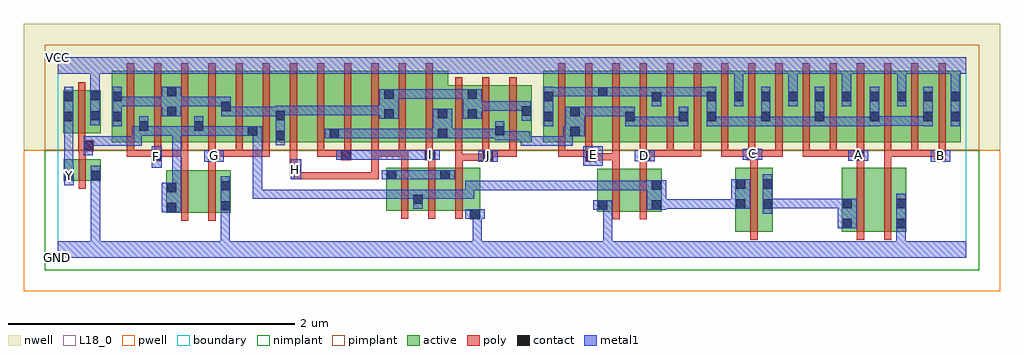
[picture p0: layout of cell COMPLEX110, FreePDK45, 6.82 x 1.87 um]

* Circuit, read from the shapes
.subckt COMPLEX110 A B C D E F G GND H I J VCC Y
M1 GND n1 Y VSUBS nfet w=0.15u l=0.05u
M2 n2 F n1 VSUBS nfet w=0.3u l=0.05u
M3 GND G n2 VSUBS nfet w=0.3u l=0.05u
M4 n1 H n3 VSUBS nfet w=0.3u l=0.05u
M5 n3 I n1 VSUBS nfet w=0.3u l=0.05u
M6 GND J n3 VSUBS nfet w=0.3u l=0.05u
M7 n4 E GND VSUBS nfet w=0.3u l=0.05u
M8 n1 D n4 VSUBS nfet w=0.3u l=0.05u
M9 n5 C n1 VSUBS nfet w=0.45u l=0.05u
M10 n6 A n5 VSUBS nfet w=0.45u l=0.05u
M11 GND B n6 VSUBS nfet w=0.45u l=0.05u
M12 VCC n1 Y n7 pfet w=0.3u l=0.05u
M13 n1 F n8 n7 pfet w=0.5u l=0.05u m=3
M14 n8 G n1 n7 pfet w=0.5u l=0.05u m=3
M15 n9 H n8 n7 pfet w=0.5u l=0.05u
M16 n10 I n9 n7 pfet w=0.5u l=0.05u
M17 n11 I n10 n7 pfet w=0.5u l=0.05u
M18 n8 H n11 n7 pfet w=0.5u l=0.05u
M19 n12 H n8 n7 pfet w=0.5u l=0.05u
M20 n10 I n12 n7 pfet w=0.5u l=0.05u
M21 n8 J n10 n7 pfet w=0.4u l=0.05u m=3
M22 n10 E n13 n7 pfet w=0.5u l=0.05u m=3
M23 n13 D n10 n7 pfet w=0.5u l=0.05u m=3
M24 VCC C n13 n7 pfet w=0.5u l=0.05u m=3
M25 n13 A VCC n7 pfet w=0.5u l=0.05u m=3
M26 VCC B n13 n7 pfet w=0.5u l=0.05u m=3
.ends

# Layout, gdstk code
import gdstk
lib = gdstk.Library(unit=1e-6, precision=1e-09)
def R(c, l, rs):  # rectangles x0, y0, x1, y1
    for r in rs: c.add(gdstk.rectangle(r[:2], r[2:], *l))
def A(c, l, x, y, w, h, nx, ny, dx, dy):  # array of equal rectangles
    R(c, l, [(x+i*dx, y+j*dy, x+i*dx+w, y+j*dy+h) for i in range(nx) for j in range(ny)])
active = (1, 0)
pwell = (2, 0)
nwell = (3, 0)
nimplant = (4, 0)
pimplant = (5, 0)
poly = (9, 0)
contact = (10, 0)
metal1 = (11, 0)
L18_0 = (18, 0)
boundary = (235, 0)

complex110 = lib.new_cell('COMPLEX110')
A(complex110, active, 0.38, 0.805, 0.075, 0.395, 4, 1, 0.38, 0)
A(complex110, active, 4.535, 0.805, 0.265, 0.5, 3, 1, 0.19, 0)
R(complex110, active, [(4.74,0.18,5.002,0.63), (5.485,0.18,5.71,0.63), (5.71,0.18,5.935,0.63), (4.74,0.2,4.815,0.63), (4.927,0.2,5.002,0.63), (5.485,0.2,5.56,0.63), (5.86,0.2,5.935,0.63), (2.882,0.267,2.957,0.405), (0.76,0.312,0.985,0.612), (0.76,0.312,0.835,0.612), (0.985,0.312,1.21,0.612), (1.135,0.312,1.21,0.612), (3.775,0.322,4,0.622), (4,0.322,4.225,0.622), (2.297,0.327,2.557,0.627), (2.482,0.327,2.747,0.627), (2.482,0.327,2.557,0.497), (2.672,0.327,2.957,0.627), (3.775,0.33,3.85,0.497), (4.15,0.33,4.225,0.622), (2.297,0.365,2.372,0.627), (2.672,0.395,2.747,0.617), (0.042,0.537,0.117,0.687), (0.042,0.537,0.302,0.687), (0.227,0.537,0.302,0.687), (0.38,0.805,0.64,1.305), (0.565,0.805,0.835,1.305), (0.565,0.805,0.64,1.07), (0.76,0.805,1.025,1.305), (0.95,0.805,1.215,1.305), (0.95,0.805,1.025,1.07), (1.14,0.805,1.4,1.305), (1.325,0.805,1.595,1.305), (1.325,0.805,1.4,1.07), (1.52,0.805,1.745,1.305), (1.745,0.805,1.972,1.305), (1.897,0.805,1.972,1.07), (1.897,0.805,2.125,1.305), (2.125,0.805,2.355,1.305), (2.28,0.805,2.355,1.2), (2.28,0.805,2.505,1.305), (2.505,0.805,2.73,1.305), (2.655,0.805,2.73,1.07), (2.655,0.805,2.937,1.205), (2.862,0.805,2.937,1.2), (2.862,0.805,3.13,1.205), (3.055,0.805,3.13,1.07), (3.055,0.805,3.315,1.205), (3.24,0.805,3.315,1.2), (3.395,0.805,3.47,1.2), (3.395,0.805,3.655,1.305), (3.58,0.805,3.85,1.305), (3.58,0.805,3.655,1.07), (3.775,0.805,4.04,1.305), (3.775,0.805,3.85,1.2), (3.965,0.805,4.225,1.305), (3.965,0.805,4.04,1.07), (4.15,0.805,4.415,1.305), (4.15,0.805,4.225,1.2), (4.34,0.805,4.61,1.305), (4.34,0.805,4.415,1.07), (4.535,0.805,4.61,1.2), (4.915,0.805,4.99,1.2), (5.105,0.805,5.18,1.305), (5.105,0.805,5.365,1.305), (5.29,0.805,5.555,1.305), (5.29,0.805,5.365,1.2), (5.48,0.805,5.75,1.305), (5.675,0.805,5.94,1.305), (5.675,0.805,5.75,1.2), (5.865,0.805,5.94,1.305), (5.865,0.805,6.125,1.305), (6.05,0.805,6.315,1.305), (6.05,0.805,6.125,1.2), (6.24,0.805,6.315,1.305), (4.725,0.807,4.8,1.305), (5.48,0.807,5.555,1.305), (0.04,0.87,0.3,1.17), (0.04,0.87,0.115,1.165), (0.225,0.87,0.3,1.17)])
R(complex110, pwell, [(-0.235,-0.235,6.59,0.75)])
R(complex110, nwell, [(-0.235,0.75,6.59,1.635)])
R(complex110, nimplant, [(-0.09,-0.09,6.445,0.75)])
R(complex110, pimplant, [(-0.09,0.75,6.445,1.49)])
A(complex110, poly, 2.402, 0.272, 0.05, 0.41, 3, 1, 0.19, 0)
A(complex110, poly, 0.485, 0.705, 0.05, 0.095, 6, 1, 0.19, 0)
A(complex110, poly, 1.815, 0.705, 0.05, 0.095, 5, 1, 0.19, 0)
A(complex110, poly, 4.07, 0.705, 0.05, 0.095, 12, 1, 0.19, 0)
A(complex110, poly, 0.485, 0.75, 0.05, 0.61, 12, 1, 0.19, 0)
A(complex110, poly, 2.78, 0.75, 0.05, 0.51, 3, 1, 0.19, 0)
A(complex110, poly, 3.5, 0.75, 0.05, 0.61, 15, 1, 0.19, 0)
R(complex110, poly, [(4.845,0.125,4.895,0.685), (5.59,0.125,5.64,0.685), (5.78,0.125,5.83,0.685), (0.865,0.257,0.915,0.675), (1.055,0.257,1.105,0.667), (3.88,0.267,3.93,0.677), (4.07,0.267,4.12,0.677), (0.147,0.482,0.197,0.742), (1.65,0.547,1.7,0.597), (1.65,0.547,1.7,0.597), (1.65,0.547,1.7,0.597), (1.65,0.547,1.7,0.597), (1.65,0.547,1.7,0.597), (1.65,0.547,1.885,0.597), (1.65,0.547,1.7,0.627), (1.835,0.547,1.885,0.597), (1.835,0.547,1.885,0.597), (1.835,0.547,1.885,0.597), (1.835,0.547,2.017,0.597), (1.967,0.547,2.017,0.597), (1.967,0.547,2.245,0.597), (2.195,0.547,2.245,0.597), (2.195,0.547,2.245,0.597), (2.195,0.547,2.245,0.597), (2.195,0.547,2.245,0.597), (2.195,0.547,2.245,0.597), (2.195,0.547,2.245,0.755), (1.625,0.577,1.7,0.652), (1.625,0.602,1.675,0.8), (1.055,0.617,1.105,0.73), (0.865,0.625,0.915,0.755), (3.88,0.627,3.93,0.73), (4.07,0.627,4.12,0.73), (2.402,0.632,2.452,0.755), (2.592,0.632,2.642,0.73), (2.782,0.632,2.832,0.727), (4.845,0.635,4.895,0.73), (5.59,0.635,5.64,0.73), (5.78,0.635,5.83,0.755), (3.69,0.672,3.765,0.755), (0.655,0.675,0.73,0.755), (2.78,0.677,2.83,0.8), (2.78,0.677,2.832,0.727), (2.782,0.677,3.02,0.727), (2.97,0.677,3.02,0.727), (2.97,0.677,3.02,0.727), (2.97,0.677,3.047,0.755), (1.055,0.68,1.132,0.755), (1.98,0.68,2.055,0.755), (2.567,0.68,2.642,0.755), (3.715,0.68,3.93,0.73), (3.88,0.68,3.93,0.73), (3.88,0.68,3.93,0.73), (3.88,0.68,3.93,0.73), (3.88,0.68,3.93,0.8), (4.07,0.68,4.145,0.755), (4.82,0.68,4.895,0.755), (5.565,0.68,5.64,0.755), (6.135,0.68,6.21,0.755), (0.147,0.692,0.197,0.795), (0.485,0.705,0.535,0.755), (0.485,0.705,0.535,0.755), (0.485,0.705,0.535,0.755), (0.485,0.705,0.705,0.755), (0.68,0.705,0.915,0.755), (0.865,0.705,0.915,0.755), (0.865,0.705,0.915,0.755), (0.865,0.705,0.915,0.755), (1.082,0.705,1.295,0.755), (1.245,0.705,1.295,0.755), (1.245,0.705,1.295,0.755), (1.245,0.705,1.295,0.755), (1.245,0.705,1.485,0.755), (1.435,0.705,1.485,0.755), (1.435,0.705,1.485,0.755), (1.435,0.705,1.485,0.755), (1.815,0.705,1.865,0.755), (1.815,0.705,2.03,0.755), (1.98,0.705,2.03,0.755), (1.98,0.705,2.03,0.755), (2.195,0.705,2.245,0.755), (2.195,0.705,2.435,0.755), (2.385,0.705,2.435,0.755), (2.385,0.705,2.435,0.755), (2.385,0.705,2.452,0.755), (2.97,0.705,3.02,0.8), (2.997,0.705,3.21,0.755), (3.16,0.705,3.21,0.8), (3.16,0.705,3.21,0.755), (3.16,0.705,3.21,0.755), (3.16,0.705,3.21,0.755), (3.5,0.705,3.55,0.8), (3.5,0.705,3.55,0.755), (3.5,0.705,3.55,0.755), (3.5,0.705,3.55,0.755), (3.5,0.705,3.74,0.755), (3.69,0.705,3.74,0.8), (4.095,0.705,4.145,0.755), (4.095,0.705,4.145,0.755), (4.095,0.705,4.31,0.755), (4.26,0.705,4.31,0.755), (4.26,0.705,4.5,0.755), (4.45,0.705,4.5,0.755), (4.45,0.705,4.5,0.755), (4.45,0.705,4.5,0.755), (4.64,0.705,4.69,0.755), (4.64,0.705,4.87,0.755), (4.82,0.705,4.87,0.755), (4.82,0.705,4.87,0.755), (4.845,0.705,5.07,0.755), (5.02,0.705,5.07,0.755), (5.02,0.705,5.07,0.755), (5.02,0.705,5.07,0.755), (5.21,0.705,5.26,0.755), (5.21,0.705,5.26,0.755), (5.21,0.705,5.26,0.755), (5.21,0.705,5.45,0.755), (5.4,0.705,5.45,0.755), (5.4,0.705,5.45,0.755), (5.4,0.705,5.45,0.755), (5.4,0.705,5.615,0.755), (5.78,0.705,5.83,0.755), (5.78,0.705,6.02,0.755), (5.97,0.705,6.02,0.755), (5.97,0.705,6.02,0.755), (5.97,0.705,6.02,0.755), (5.97,0.705,6.185,0.755), (6.135,0.705,6.185,0.755), (6.135,0.705,6.185,0.755), (0.145,0.745,0.252,0.82), (0.145,0.77,0.195,0.865), (0.145,0.815,0.195,1.225)])
A(complex110, contact, 4.54, 1.095, 0.065, 0.065, 4, 1, 0.19, 0)
R(complex110, contact, [(5.49,0.205,5.555,0.27), (5.865,0.205,5.93,0.27), (2.887,0.272,2.952,0.337), (0.765,0.317,0.83,0.382), (1.14,0.33,1.205,0.395), (3.78,0.335,3.845,0.4), (4.155,0.335,4.22,0.4), (4.745,0.342,4.81,0.407), (4.932,0.342,4.997,0.407), (5.49,0.345,5.555,0.41), (5.865,0.345,5.93,0.41), (2.487,0.375,2.552,0.44), (0.765,0.457,0.83,0.522), (1.14,0.47,1.205,0.535), (4.155,0.475,4.22,0.54), (4.745,0.482,4.81,0.547), (4.932,0.482,4.997,0.547), (0.047,0.542,0.112,0.607), (0.232,0.542,0.297,0.607), (2.302,0.547,2.367,0.612), (2.677,0.547,2.742,0.612), (1.63,0.582,1.695,0.647), (3.695,0.677,3.76,0.742), (0.66,0.68,0.725,0.745), (2.977,0.682,3.042,0.747), (1.062,0.685,1.127,0.75), (1.985,0.685,2.05,0.75), (2.572,0.685,2.637,0.75), (4.075,0.685,4.14,0.75), (4.825,0.685,4.89,0.75), (5.57,0.685,5.635,0.75), (6.14,0.685,6.205,0.75), (0.182,0.75,0.247,0.815), (1.525,0.822,1.59,0.887), (1.902,0.835,1.967,0.9), (2.66,0.835,2.725,0.9), (3.585,0.85,3.65,0.915), (1.33,0.852,1.395,0.917), (3.06,0.855,3.125,0.92), (0.57,0.887,0.635,0.952), (0.955,0.887,1.02,0.952), (0.045,0.955,0.11,1.02), (0.385,0.955,0.45,1.02), (3.4,0.955,3.465,1.02), (3.97,0.955,4.035,1.02), (4.345,0.955,4.41,1.02), (4.54,0.955,4.605,1.02), (4.92,0.955,4.985,1.02), (5.295,0.955,5.36,1.02), (5.68,0.955,5.745,1.02), (6.055,0.955,6.12,1.02), (6.245,0.955,6.31,1.02), (0.23,0.96,0.295,1.025), (1.525,0.962,1.59,1.027), (2.285,0.972,2.35,1.037), (2.867,0.972,2.932,1.037), (2.66,0.975,2.725,1.04), (0.765,0.99,0.83,1.055), (3.585,0.99,3.65,1.055), (3.245,0.992,3.31,1.057), (1.145,1.025,1.21,1.09), (4.155,1.092,4.22,1.157), (0.045,1.095,0.11,1.16), (0.385,1.095,0.45,1.16), (3.4,1.095,3.465,1.16), (5.295,1.095,5.36,1.16), (5.485,1.095,5.55,1.16), (5.68,1.095,5.745,1.16), (5.87,1.095,5.935,1.16), (6.055,1.095,6.12,1.16), (6.245,1.095,6.31,1.16), (0.23,1.1,0.295,1.165), (2.285,1.112,2.35,1.177), (2.867,1.112,2.932,1.177), (3.78,1.127,3.845,1.192), (0.765,1.13,0.83,1.195)])
A(complex110, metal1, 1.937, 0.835, 0.203, 0.065, 3, 1, 0.275, 0)
R(complex110, metal1, [(0,0,6.355,0.115), (0.232,0.05,0.297,0.115), (0.232,0.05,0.297,0.115), (0.232,0.05,0.297,0.115), (0.232,0.05,0.297,0.115), (0.232,0.05,0.297,0.115), (0.232,0.05,0.297,0.115), (0.232,0.05,0.297,0.572), (1.14,0.05,1.205,0.36), (2.902,0.05,2.967,0.115), (2.902,0.05,2.967,0.115), (2.902,0.05,2.967,0.337), (3.815,0.05,3.88,0.115), (3.815,0.05,3.88,0.115), (3.815,0.05,3.88,0.115), (3.815,0.05,3.88,0.115), (3.815,0.05,3.88,0.4), (5.865,0.05,5.93,0.115), (5.865,0.05,5.93,0.115), (5.865,0.05,5.93,0.235), (5.865,0.17,5.93,0.445), (5.455,0.205,5.59,0.41), (2.852,0.272,2.987,0.337), (2.902,0.272,2.967,0.337), (2.902,0.272,2.967,0.337), (1.14,0.295,1.205,0.57), (1.14,0.295,1.205,0.36), (1.14,0.295,1.205,0.36), (1.14,0.295,1.205,0.36), (1.14,0.295,1.205,0.36), (4.932,0.307,4.997,0.582), (0.73,0.317,0.865,0.522), (3.745,0.335,3.88,0.4), (4.12,0.335,4.255,0.54), (2.487,0.34,2.552,0.475), (4.19,0.342,4.392,0.407), (4.327,0.342,4.392,0.407), (4.327,0.342,4.392,0.407), (4.327,0.342,4.392,0.407), (4.327,0.342,4.547,0.407), (4.482,0.342,4.685,0.407), (4.482,0.342,4.547,0.407), (4.482,0.342,4.547,0.407), (4.482,0.342,4.547,0.407), (4.62,0.342,4.685,0.407), (4.62,0.342,4.775,0.407), (4.71,0.342,4.845,0.547), (4.932,0.345,5.135,0.41), (4.932,0.345,4.997,0.41), (4.932,0.345,4.997,0.41), (5.07,0.345,5.135,0.41), (5.07,0.345,5.135,0.41), (5.07,0.345,5.135,0.41), (5.07,0.345,5.312,0.41), (5.247,0.345,5.312,0.41), (5.247,0.345,5.312,0.41), (5.247,0.345,5.312,0.41), (5.247,0.345,5.52,0.41), (1.365,0.41,1.43,0.475), (1.365,0.41,1.43,0.475), (1.365,0.41,1.43,0.475), (1.365,0.41,1.557,0.475), (1.365,0.41,1.43,0.917), (1.492,0.41,1.557,0.475), (1.492,0.41,1.567,0.475), (1.502,0.41,1.567,0.475), (1.502,0.41,1.727,0.475), (1.662,0.41,1.865,0.475), (1.662,0.41,1.727,0.475), (1.662,0.41,1.727,0.475), (1.662,0.41,1.727,0.475), (1.8,0.41,1.865,0.475), (1.8,0.41,1.865,0.475), (1.8,0.41,1.865,0.475), (1.8,0.41,2.14,0.475), (2.075,0.41,2.14,0.475), (2.075,0.41,2.14,0.475), (2.075,0.41,2.14,0.475), (2.075,0.41,2.277,0.475), (2.212,0.41,2.415,0.475), (2.212,0.41,2.277,0.475), (2.35,0.41,2.415,0.475), (2.35,0.41,2.415,0.475), (2.35,0.41,2.415,0.475), (2.35,0.41,2.552,0.475), (2.487,0.41,2.552,0.475), (2.487,0.41,2.552,0.475), (2.487,0.41,2.76,0.475), (2.695,0.41,2.76,0.475), (2.695,0.41,2.76,0.475), (2.695,0.41,2.76,0.475), (2.695,0.41,2.915,0.475), (2.85,0.41,2.915,0.537), (0.8,0.457,0.865,0.917), (2.85,0.472,3.105,0.537), (3.04,0.472,3.105,0.537), (3.04,0.472,3.105,0.537), (3.04,0.472,3.105,0.537), (3.04,0.472,3.31,0.537), (3.245,0.472,3.31,0.537), (3.245,0.472,3.31,0.537), (3.245,0.472,3.31,0.537), (3.245,0.472,3.447,0.537), (3.382,0.472,3.447,0.537), (3.382,0.472,3.447,0.537), (3.382,0.472,3.447,0.537), (3.382,0.472,3.672,0.537), (3.607,0.472,3.672,0.537), (3.607,0.472,3.74,0.537), (3.675,0.472,3.74,0.537), (3.675,0.472,3.827,0.537), (3.762,0.472,3.877,0.537), (3.812,0.472,3.877,0.537), (3.812,0.472,3.877,0.537), (3.812,0.472,4.035,0.537), (3.97,0.472,4.035,0.537), (3.97,0.472,4.035,0.537), (3.97,0.472,4.035,0.537), (3.97,0.472,4.185,0.537), (0.047,0.507,0.112,0.642), (0.232,0.507,0.297,0.642), (1.63,0.547,1.705,0.687), (2.267,0.547,2.402,0.612), (2.337,0.547,2.415,0.612), (2.35,0.547,2.415,0.612), (2.35,0.547,2.552,0.612), (2.487,0.547,2.552,0.612), (2.487,0.547,2.552,0.612), (2.487,0.547,2.552,0.612), (2.487,0.547,2.707,0.612), (2.642,0.547,2.777,0.612), (0.045,0.577,0.11,0.985), (0.045,0.577,0.112,0.642), (0.047,0.577,0.112,0.642), (0.66,0.627,0.727,0.78), (3.677,0.642,3.812,0.777), (2.942,0.67,3.077,0.747), (1.027,0.672,1.162,0.75), (6.105,0.672,6.242,0.75), (4.035,0.675,4.175,0.75), (5.53,0.677,5.67,0.752), (1.95,0.685,2.085,0.75), (2.02,0.685,2.14,0.75), (2.075,0.685,2.14,0.75), (2.075,0.685,2.277,0.75), (2.212,0.685,2.415,0.75), (2.212,0.685,2.277,0.75), (2.35,0.685,2.415,0.75), (2.35,0.685,2.415,0.75), (2.35,0.685,2.415,0.75), (2.35,0.685,2.552,0.75), (2.487,0.685,2.552,0.75), (2.487,0.685,2.602,0.75), (2.537,0.685,2.672,0.752), (4.79,0.685,4.927,0.762), (0.182,0.715,0.247,0.85), (0.182,0.782,0.247,0.847), (0.182,0.782,0.247,0.847), (0.182,0.782,0.247,0.847), (0.182,0.782,0.247,0.847), (0.182,0.782,0.435,0.847), (0.37,0.782,0.435,0.847), (0.37,0.782,0.587,0.847), (0.522,0.782,0.587,0.917), (3.237,0.782,3.302,0.847), (3.237,0.782,3.302,0.847), (3.237,0.782,3.465,0.847), (3.237,0.782,3.302,0.885), (3.4,0.782,3.465,0.847), (3.4,0.782,3.602,0.847), (3.537,0.782,3.602,0.915), (1.525,0.787,1.59,1.062), (3.06,0.82,3.125,0.955), (3.06,0.82,3.302,0.885), (1.867,0.835,2.002,0.9), (1.937,0.835,2.002,0.9), (1.937,0.835,2.002,0.9), (2.075,0.835,2.14,0.9), (2.075,0.835,2.277,0.9), (2.212,0.835,2.277,0.9), (2.35,0.835,2.415,0.9), (2.35,0.835,2.415,0.9), (2.35,0.835,2.415,0.9), (2.35,0.835,2.552,0.9), (2.487,0.835,2.552,0.9), (2.487,0.835,2.552,0.9), (2.487,0.835,2.552,0.9), (2.625,0.835,2.76,1.04), (2.695,0.835,2.76,0.9), (2.695,0.835,2.76,0.9), (2.695,0.835,2.922,0.9), (2.857,0.835,2.922,0.9), (2.857,0.835,2.922,0.9), (2.857,0.835,2.922,0.9), (2.857,0.835,3.125,0.9), (3.537,0.85,3.615,0.915), (3.55,0.85,3.685,1.055), (0.522,0.852,0.635,0.917), (0.57,0.852,0.635,0.987), (0.57,0.852,0.725,0.917), (0.66,0.852,0.725,0.917), (0.66,0.852,0.865,0.917), (0.8,0.852,0.865,0.917), (0.8,0.852,0.865,0.917), (0.8,0.852,0.88,0.917), (0.815,0.852,0.88,0.917), (0.815,0.852,0.88,0.917), (0.815,0.852,1.02,0.917), (0.955,0.852,1.02,0.917), (0.955,0.852,1.02,0.917), (0.955,0.852,1.02,0.987), (0.955,0.852,1.222,0.917), (1.157,0.852,1.36,0.917), (1.157,0.852,1.222,0.917), (1.295,0.852,1.36,0.917), (1.295,0.852,1.36,0.917), (1.295,0.852,1.43,0.917), (1.365,0.852,1.43,0.917), (1.365,0.852,1.43,0.917), (0.045,0.92,0.11,1.195), (0.045,0.92,0.11,0.985), (0.045,0.92,0.11,0.985), (0.385,0.92,0.45,1.195), (3.4,0.92,3.465,1.195), (3.97,0.92,4.035,0.985), (3.97,0.92,4.035,0.985), (3.97,0.92,4.035,1.055), (3.97,0.92,4.172,0.985), (4.107,0.92,4.172,0.985), (4.107,0.92,4.41,0.985), (4.345,0.92,4.41,0.985), (4.345,0.92,4.41,0.985), (4.345,0.92,4.41,1.055), (4.54,0.92,4.605,1.195), (4.54,0.92,4.71,0.985), (4.645,0.92,4.71,0.985), (4.645,0.92,4.742,0.985), (4.677,0.92,4.742,0.985), (4.677,0.92,4.847,0.985), (4.782,0.92,4.985,0.985), (4.782,0.92,4.847,0.985), (4.92,0.92,4.985,1.195), (4.92,0.92,4.985,0.985), (4.92,0.92,4.985,0.985), (4.92,0.92,5.175,0.985), (5.11,0.92,5.175,0.985), (5.11,0.92,5.175,0.985), (5.11,0.92,5.175,0.985), (5.11,0.92,5.36,0.985), (5.295,0.92,5.36,1.195), (5.295,0.92,5.36,0.985), (5.295,0.92,5.36,0.985), (5.295,0.92,5.607,0.985), (5.542,0.92,5.745,0.985), (5.542,0.92,5.607,0.985), (5.542,0.92,5.607,0.985), (5.542,0.92,5.607,0.985), (5.68,0.92,5.745,1.195), (6.055,0.92,6.12,1.195), (6.245,0.92,6.31,1.195), (5.68,0.922,5.745,0.987), (5.68,0.922,5.745,0.987), (5.68,0.922,5.982,0.987), (5.917,0.922,6.12,0.987), (5.917,0.922,5.982,0.987), (5.917,0.922,5.982,0.987), (5.917,0.922,5.982,0.987), (0.23,0.925,0.295,1.207), (3.245,0.957,3.31,1.092), (2.25,0.972,2.385,1.177), (2.832,0.972,2.967,1.177), (0.73,0.99,0.865,1.195), (1.145,0.99,1.21,1.125), (1.145,0.99,1.36,1.055), (1.295,0.99,1.36,1.055), (1.295,0.99,1.36,1.055), (1.295,0.99,1.36,1.055), (1.295,0.99,1.557,1.055), (1.492,0.99,1.557,1.055), (1.492,0.99,1.59,1.055), (3.607,0.99,3.672,1.055), (3.607,0.99,3.672,1.055), (3.607,0.99,3.74,1.055), (3.675,0.99,3.74,1.055), (3.675,0.99,3.897,1.055), (3.832,0.99,4.035,1.055), (3.832,0.99,3.897,1.055), (3.832,0.99,3.897,1.055), (3.832,0.99,3.897,1.055), (1.525,0.997,1.727,1.062), (1.662,0.997,1.865,1.062), (1.662,0.997,1.727,1.062), (1.662,0.997,1.727,1.062), (1.662,0.997,1.727,1.062), (1.8,0.997,1.865,1.062), (1.8,0.997,1.865,1.062), (1.8,0.997,1.865,1.062), (1.8,0.997,2.14,1.062), (2.075,0.997,2.14,1.062), (2.075,0.997,2.14,1.062), (2.075,0.997,2.14,1.062), (2.075,0.997,2.277,1.062), (2.212,0.997,2.277,1.062), (2.212,0.997,2.315,1.062), (2.902,1.027,3.105,1.092), (3.04,1.027,3.105,1.092), (3.04,1.027,3.105,1.092), (3.04,1.027,3.105,1.092), (3.04,1.027,3.31,1.092), (3.245,1.027,3.31,1.092), (3.245,1.027,3.31,1.092), (4.155,1.057,4.22,1.192), (0.385,1.06,0.45,1.125), (0.385,1.06,0.45,1.125), (0.385,1.06,0.587,1.125), (0.522,1.06,0.587,1.125), (0.522,1.06,0.727,1.125), (0.662,1.06,0.727,1.125), (0.662,1.06,0.795,1.125), (0.8,1.06,0.865,1.125), (0.8,1.06,0.865,1.125), (0.8,1.06,1.067,1.125), (1.002,1.06,1.067,1.125), (1.002,1.06,1.067,1.125), (1.002,1.06,1.067,1.125), (1.002,1.06,1.21,1.125), (4.73,1.06,4.795,1.195), (5.11,1.06,5.175,1.195), (5.485,1.06,5.55,1.195), (5.87,1.06,5.935,1.195), (2.32,1.112,2.415,1.177), (2.35,1.112,2.415,1.177), (2.35,1.112,2.552,1.177), (2.487,1.112,2.552,1.177), (2.487,1.112,2.552,1.177), (2.487,1.112,2.552,1.177), (2.487,1.112,2.76,1.177), (2.695,1.112,2.76,1.177), (2.695,1.112,2.76,1.177), (2.695,1.112,2.76,1.177), (2.695,1.112,2.897,1.177), (3.4,1.127,3.465,1.192), (3.4,1.127,3.465,1.192), (3.4,1.127,3.602,1.192), (3.537,1.127,3.74,1.192), (3.537,1.127,3.602,1.192), (3.675,1.127,3.74,1.192), (3.675,1.127,3.81,1.192), (3.745,1.127,3.88,1.192), (3.815,1.127,3.897,1.192), (3.832,1.127,4.035,1.192), (3.832,1.127,3.897,1.192), (3.97,1.127,4.035,1.192), (3.97,1.127,4.035,1.192), (3.97,1.127,4.035,1.192), (3.97,1.127,4.22,1.192), (4.155,1.127,4.392,1.192), (4.327,1.127,4.392,1.192), (4.327,1.127,4.392,1.192), (4.327,1.127,4.392,1.192), (4.327,1.127,4.547,1.192), (4.482,1.127,4.547,1.192), (4.482,1.127,4.605,1.192), (4.73,1.13,4.795,1.35), (5.11,1.13,5.175,1.35), (5.485,1.13,5.55,1.35), (5.87,1.13,5.935,1.35), (6.245,1.13,6.31,1.35), (0.23,1.142,0.295,1.207), (0.23,1.142,0.295,1.207), (0.23,1.142,0.295,1.35), (0,1.285,6.355,1.4)])
R(complex110, L18_0, [(0,0,6.355,0.115), (0.232,0.05,0.297,0.115), (0.232,0.05,0.297,0.115), (0.232,0.05,0.297,0.115), (0.232,0.05,0.297,0.115), (0.232,0.05,0.297,0.115), (0.232,0.05,0.297,0.115), (0.232,0.05,0.297,0.572), (1.14,0.05,1.205,0.36), (2.902,0.05,2.967,0.115), (2.902,0.05,2.967,0.115), (2.902,0.05,2.967,0.337), (3.815,0.05,3.88,0.115), (3.815,0.05,3.88,0.115), (3.815,0.05,3.88,0.115), (3.815,0.05,3.88,0.115), (3.815,0.05,3.88,0.4), (5.865,0.05,5.93,0.115), (5.865,0.05,5.93,0.115), (5.865,0.05,5.93,0.235), (5.865,0.17,5.93,0.445), (2.852,0.272,2.987,0.337), (2.902,0.272,2.967,0.337), (2.902,0.272,2.967,0.337), (1.14,0.295,1.205,0.36), (1.14,0.295,1.205,0.36), (1.14,0.295,1.205,0.36), (1.14,0.295,1.205,0.36), (1.14,0.295,1.205,0.57), (3.745,0.335,3.88,0.4), (0.047,0.507,0.112,0.642), (0.232,0.507,0.297,0.642), (0.047,0.542,0.112,0.607), (1.63,0.547,1.705,0.687), (0.045,0.577,0.112,0.642), (0.045,0.577,0.11,0.985), (0.047,0.577,0.112,0.642), (1.632,0.582,1.697,0.647), (0.66,0.627,0.727,0.78), (3.677,0.642,3.812,0.777), (2.942,0.67,3.077,0.747), (1.027,0.672,1.162,0.75), (6.105,0.672,6.242,0.75), (4.035,0.675,4.175,0.75), (0.662,0.677,0.727,0.742), (5.53,0.677,5.67,0.752), (1.062,0.682,1.127,0.747), (2.977,0.682,3.042,0.747), (4.072,0.682,4.137,0.747), (6.142,0.682,6.207,0.747), (1.95,0.685,2.085,0.75), (2.02,0.685,2.14,0.75), (2.075,0.685,2.14,0.75), (2.075,0.685,2.277,0.75), (2.212,0.685,2.277,0.75), (2.212,0.685,2.415,0.75), (2.35,0.685,2.415,0.75), (2.35,0.685,2.415,0.75), (2.35,0.685,2.415,0.75), (2.35,0.685,2.552,0.75), (2.487,0.685,2.552,0.75), (2.487,0.685,2.602,0.75), (2.537,0.685,2.672,0.752), (4.79,0.685,4.927,0.762), (2.572,0.687,2.637,0.752), (3.712,0.687,3.777,0.752), (5.567,0.687,5.632,0.752), (4.827,0.697,4.892,0.762), (0.045,0.92,0.11,0.985), (0.045,0.92,0.11,0.985), (0.045,0.92,0.11,1.195), (6.245,0.92,6.31,1.195), (0.23,0.925,0.295,1.207), (4.73,1.06,4.795,1.195), (5.11,1.06,5.175,1.195), (5.485,1.06,5.55,1.195), (5.87,1.06,5.935,1.195), (4.73,1.13,4.795,1.35), (5.11,1.13,5.175,1.35), (5.485,1.13,5.55,1.35), (5.87,1.13,5.935,1.35), (6.245,1.13,6.31,1.35), (0.23,1.142,0.295,1.207), (0.23,1.142,0.295,1.207), (0.23,1.142,0.295,1.35), (0,1.285,6.355,1.4)])
R(complex110, boundary, [(0,0,6.355,1.4)])
complex110.add(gdstk.Label('A', (5.6,0.72), layer=11, texttype=0))
complex110.add(gdstk.Label('B', (6.175,0.715), layer=11, texttype=0))
complex110.add(gdstk.Label('C', (4.86,0.73), layer=11, texttype=0))
complex110.add(gdstk.Label('D', (4.105,0.715), layer=11, texttype=0))
complex110.add(gdstk.Label('E', (3.745,0.72), layer=11, texttype=0))
complex110.add(gdstk.Label('F', (0.695,0.71), layer=11, texttype=0))
complex110.add(gdstk.Label('G', (1.095,0.715), layer=11, texttype=0))
complex110.add(gdstk.Label('H', (1.665,0.615), layer=11, texttype=0))
complex110.add(gdstk.Label('I', (2.605,0.72), layer=11, texttype=0))
complex110.add(gdstk.Label('J', (3.01,0.715), layer=11, texttype=0))
complex110.add(gdstk.Label('Y', (0.08,0.575), layer=11, texttype=0))
complex110.add(gdstk.Label('VCC', (0,1.4), layer=11, texttype=0))
complex110.add(gdstk.Label('GND', (0,0), layer=11, texttype=0))

lib.write_gds('COMPLEX110.gds')
